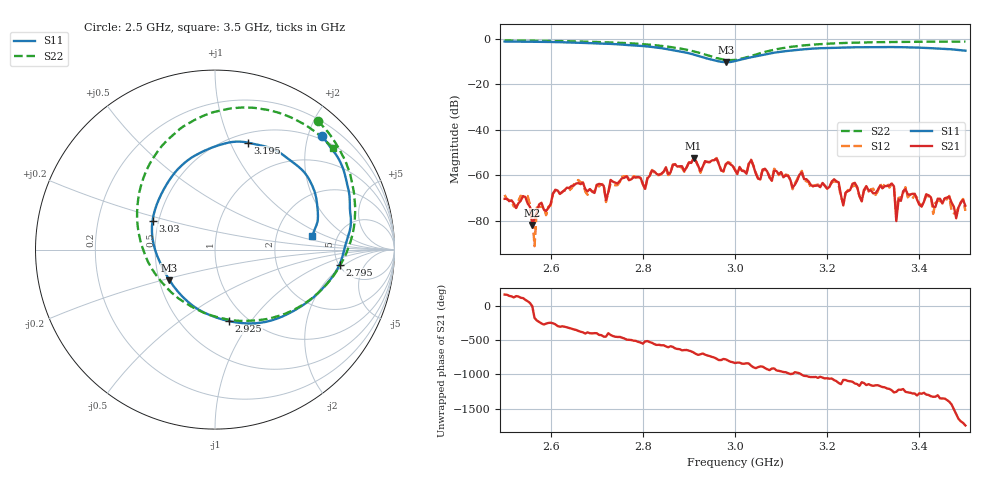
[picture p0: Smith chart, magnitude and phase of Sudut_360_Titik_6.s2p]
# Hz S RI R 50
! CMT, C1220, 16058040, 17.2.0/1
! Date: 15/08/2018 10:20:53
! Data: Format (Calibration Info)
! Freq  S11: Re/Im (F2)  S21: Re/Im (F2)  S12: Re/Im (F2)  S22: Re/Im (F2)
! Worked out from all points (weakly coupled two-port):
!   201 points, 2.5 GHz to 3.5 GHz, reference 50 ohm
!   highest |S21| = -52.41 dB at 2.91 GHz (marker M1); lowest = -81.8 dB at 2.56 GHz (marker M2)
!   lowest |S11| = -10.3 dB at 2.98 GHz (marker M3), VSWR 1.88, Z = 28.3 - j10.6 ohm
!   |S11| at or under -10 dB: 2.967 GHz to 2.996 GHz (29.05 MHz wide, 0.975 % of centre)
!   |S22| runs from -9.4 to -0.7 dB; largest |S21 - S12| = 0.00015
!   S11 on the Smith chart (normalised r, x): 2.5 GHz: 0.43, +2.24; 2.795 GHz: 5.09, -1.66; 2.925 GHz: 0.83, -0.79; 3.03 GHz: 0.46, +0.18; 3.195 GHz: 0.60, +1.16; 3.5 GHz: 3.24, +0.72
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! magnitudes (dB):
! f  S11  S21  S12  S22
! 2.5 GHz  -1.2  -70.3  -68.6  -0.7
! 2.545 GHz  -1.3  -69.5  -69.4  -0.8
! 2.56 GHz  -1.3  -81.8  -77.4  -0.9
! 2.67 GHz  -1.8  -63.2  -63.2  -1.2
! 2.72 GHz  -2.2  -70.9  -71.7  -1.5
! 2.795 GHz  -3.1  -61.1  -61.2  -2.3
! 2.835 GHz  -4.0  -59.7  -59.9  -3.0
! 2.91 GHz  -6.9  -52.4  -52.6  -5.5
! 2.925 GHz  -7.8  -58.1  -58.9  -6.3
! 2.98 GHz  -10.3  -55.1  -55.1  -9.3
! 3 GHz  -9.8  -57.7  -57.4  -9.3
! 3.03 GHz  -8.3  -55.0  -54.8  -7.9
! 3.17 GHz  -4.3  -64.7  -64.6  -2.6
! 3.195 GHz  -4.1  -64.6  -64.5  -2.2
! 3.225 GHz  -3.9  -63.1  -64.3  -2.0
! 3.235 GHz  -3.8  -73.2  -72.1  -1.9
! 3.255 GHz  -3.8  -63.7  -64.9  -1.7
! 3.335 GHz  -3.6  -64.5  -65.4  -1.4
! 3.345 GHz  -3.6  -64.8  -65.6  -1.4
! 3.35 GHz  -3.7  -80.1  -77.0  -1.4
! 3.37 GHz  -3.7  -66.1  -65.2  -1.4
! 3.5 GHz  -5.2  -73.3  -75.6  -1.3
